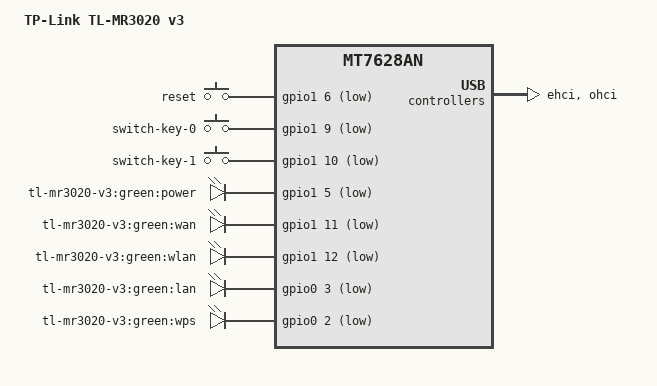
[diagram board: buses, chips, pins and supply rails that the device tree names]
/dts-v1/;

#include "TPLINK-8M.dtsi"

#include <dt-bindings/gpio/gpio.h>
#include <dt-bindings/input/input.h>

/ {
	compatible = "tplink,tl-mr3020-v3", "mediatek,mt7628an-soc";
	model = "TP-Link TL-MR3020 v3";

	gpio-keys-polled {
		compatible = "gpio-keys-polled";
		#address-cells = <1>;
		#size-cells = <0>;
		poll-interval = <20>;

		reset {
			label = "reset";
			gpios = <&gpio1 6 GPIO_ACTIVE_LOW>;
			linux,code = <KEY_RESTART>;
		};

		sw1 {
			label = "switch-key-0";
			gpios = <&gpio1 9 GPIO_ACTIVE_LOW>;
			linux,code = <BTN_0>;
		};

		sw2 {
			label = "switch-key-1";
			gpios = <&gpio1 10 GPIO_ACTIVE_LOW>;
			linux,code = <BTN_1>;
		};

	};

	gpio-leds {
		compatible = "gpio-leds";

		power {
			label = "tl-mr3020-v3:green:power";
			gpios = <&gpio1 5 GPIO_ACTIVE_LOW>;
		};
		
		wan {
			label = "tl-mr3020-v3:green:wan";
			gpios = <&gpio1 11 GPIO_ACTIVE_LOW>;
		};
		
		wlan {
			label = "tl-mr3020-v3:green:wlan";
			gpios = <&gpio1 12 GPIO_ACTIVE_LOW>;
		};
		
		lan {
			label = "tl-mr3020-v3:green:lan";
			gpios = <&gpio0 3 GPIO_ACTIVE_LOW>;
		};

		wps {
			label = "tl-mr3020-v3:green:wps";
			gpios = <&gpio0 2 GPIO_ACTIVE_LOW>;
		};
	};
};

&ehci {
	status = "okay";
};

&ohci {
	status = "okay";
};

&pinctrl {
	state_default: pinctrl0 {
		gpio {
			ralink,group = "gpio", "i2c", "i2s", "perst", "refclk", "uart1", "wdt";
			ralink,function = "gpio";
		};
	};
};
